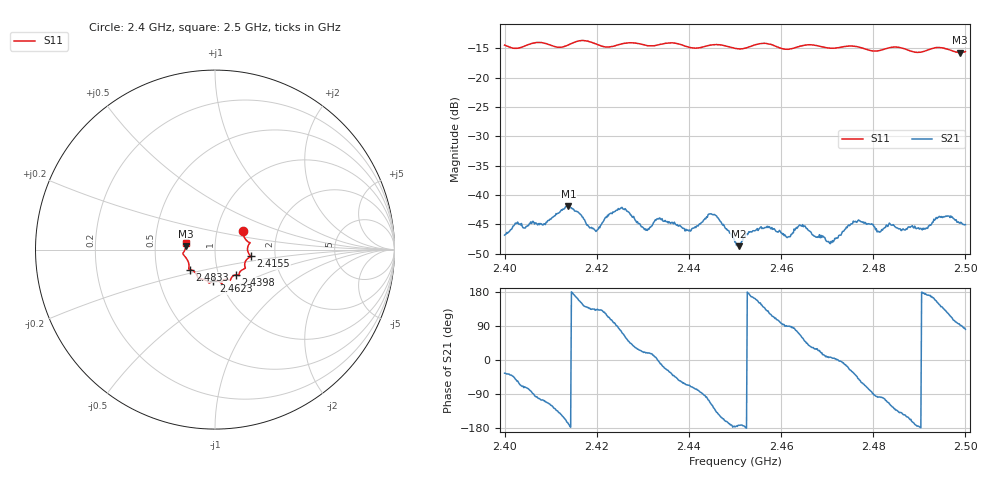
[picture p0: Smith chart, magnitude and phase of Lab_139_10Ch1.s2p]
# Hz S RI R 50
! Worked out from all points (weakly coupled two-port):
!   601 points, 2.4 GHz to 2.5 GHz, reference 50 ohm
!   highest |S21| = -41.89 dB at 2.4138 GHz (marker M1); lowest = -48.7 dB at 2.4508 GHz (marker M2)
!   lowest |S11| = -15.7 dB at 2.4988 GHz (marker M3), VSWR 1.39, Z = 36 + j1.36 ohm
!   |S11| at or under -10 dB: start of sweep to end of sweep
!   S12 and S22 are empty: the file has one direction only
!   S11 on the Smith chart (normalised r, x): 2.4 GHz: 1.33, +0.29; 2.4155 GHz: 1.49, -0.11; 2.4398 GHz: 1.21, -0.35; 2.4623 GHz: 0.92, -0.34; 2.4833 GHz: 0.74, -0.17; 2.5 GHz: 0.72, +0.06
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2.4e9  0.1562 0.106  0.00375 -0.00261  0 0  0 0
2.413833e9  0.1883 -0.0229  -0.00787 -0.00167  0 0  0 0
2.4155e9  0.1988 -0.0364  -0.00709 0.00175  0 0  0 0
2.416667e9  0.2026 -0.0406  -0.00588 0.00328  0 0  0 0
2.419833e9  0.1874 -0.0458  -0.00335 0.00357  0 0  0 0
2.425167e9  0.1669 -0.096  0.00157 0.00754  0 0  0 0
2.430667e9  0.1489 -0.115  0.00475 0.00159  0 0  0 0
2.433333e9  0.1343 -0.134  0.00632 -0.000225  0 0  0 0
2.439833e9  0.1165 -0.1395  0.00198 -0.00462  0 0  0 0
2.445167e9  0.0851 -0.1701  -0.00355 -0.0058  0 0  0 0
2.45e9  0.064 -0.1653  -0.00396 -0.000233  0 0  0 0
2.450833e9  0.0555 -0.1665  -0.00364 -0.000509  0 0  0 0
2.455667e9  0.0378 -0.1911  -0.00445 0.00302  0 0  0 0
2.462333e9  -0.0085 -0.176  0.000363 0.00463  0 0  0 0
2.464167e9  -0.0262 -0.1832  0.00227 0.00504  0 0  0 0
2.466667e9  -0.0332 -0.187  0.0039 0.00255  0 0  0 0
2.470833e9  -0.0564 -0.1685  0.004 0.000482  0 0  0 0
2.476167e9  -0.094 -0.1584  0.00456 -0.00386  0 0  0 0
2.481333e9  -0.1234 -0.1165  -0.000631 -0.00479  0 0  0 0
2.483333e9  -0.1399 -0.1113  -0.00214 -0.00519  0 0  0 0
2.498833e9  -0.1621 0.0184  -0.000201 0.00576  0 0  0 0
2.5e9  -0.1623 0.0373  0.00088 0.00554  0 0  0 0
